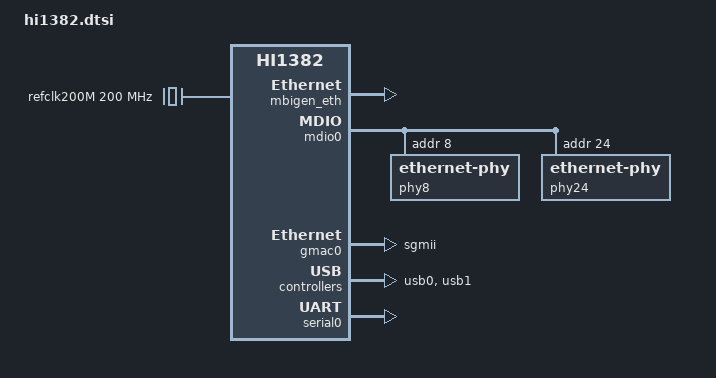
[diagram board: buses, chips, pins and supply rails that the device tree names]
/**
 * dts file for Hisilicon PhosphorHi1382 Soc
 *
 * Copyright (C) 2015,2016 Hisilicon Ltd.
 *
 * This program is free software; you can redistribute it and/or modify
 * it under the terms of the GNU General Public License version 2 as
 * publishhed by the Free Software Foundation.
 *
 */

/ {
	compatible = "hisilicon,hi1382-evb", "hisilicon,hi1382-umpte", "hisilicon,hi1382-ubppe", "hisilicon,hi1382";
	#address-cells = <2>;
	#size-cells = <2>;
	interrupt-parent = <&gic>;

        psci {
                compatible = "arm,psci-0.2";
                method = "smc";
        };

	cpus {
		#address-cells = <1>;
		#size-cells = <0>;

		cpu@0 {
			device_type = "cpu";
			compatible = "arm,armv8";
			reg = <0x20000>;
			enable-method = "psci";
		};

		cpu@1 {
			device_type = "cpu";
			compatible = "arm,armv8";
			reg = <0x20001>;
			enable-method = "psci";
		};

		cpu@2 {
			device_type = "cpu";
			compatible = "arm,armv8";
			reg = <0x20002>;
			enable-method = "psci";
		};

		cpu@3 {
			device_type = "cpu";
			compatible = "arm,armv8";
			reg = <0x20003>;
			enable-method = "psci";
		};

		cpu@4 {
			device_type = "cpu";
			compatible = "arm,armv8";
			reg = <0x20100>;
			enable-method = "psci";
		};

		cpu@5 {
			device_type = "cpu";
			compatible = "arm,armv8";
			reg = <0x20101>;
			enable-method = "psci";
		};

		cpu@6 {
			device_type = "cpu";
			compatible = "arm,armv8";
			reg = <0x20102>;
			enable-method = "psci";
		};

		cpu@7 {
			device_type = "cpu";
			compatible = "arm,armv8";
			reg = <0x20103>;
			enable-method = "psci";
		};

		cpu@8 {
			device_type = "cpu";
			compatible = "arm,armv8";
			reg = <0x20200>;
			enable-method = "psci";
		};

		cpu@9 {
			device_type = "cpu";
			compatible = "arm,armv8";
			reg = <0x20201>;
			enable-method = "psci";
		};

		cpu@10 {
			device_type = "cpu";
			compatible = "arm,armv8";
			reg = <0x20202>;
			enable-method = "psci";
		};

		cpu@11 {
			device_type = "cpu";
			compatible = "arm,armv8";
			reg = <0x20203>;
			enable-method = "psci";
		};

		cpu@12 {
			device_type = "cpu";
			compatible = "arm,armv8";
			reg = <0x20300>;
			enable-method = "psci";
		};

		cpu@13 {
			device_type = "cpu";
			compatible = "arm,armv8";
			reg = <0x20301>;
			enable-method = "psci";
		};

		cpu@14 {
			device_type = "cpu";
			compatible = "arm,armv8";
			reg = <0x20302>;
			enable-method = "psci";
		};

		cpu@15 {
			device_type = "cpu";
			compatible = "arm,armv8";
			reg = <0x20303>;
			enable-method = "psci";
		};

	};

	gic: interrupt-controller@f0000000 {
		compatible = "arm,gic-v3";
		#interrupt-cells = <3>;
		#address-cells = <2>;
		#size-cells = <2>;
		ranges;
		interrupt-controller;
		#redistributor-regions = <1>;
		redistributor-stride = <0x0 0x40000>;
		reg = <0x0 0xf0000000 0x0 0x10000>,	/* GICD */
		      <0x0 0xf0100000 0x0 0x400000>,	/* GICR */
		      <0x0 0xfe000000 0x0 0x10000>,	/* GICC */
		      <0x0 0xfe010000 0x0 0x10000>,     /* GICH */
		      <0x0 0xfe020000 0x0 0x10000>;     /* GICV */
		interrupts = <1 9 0xff04>;

		its: interrupt-controller@f4900000 {
			compatible = "arm,gic-v3-its";
			msi-controller;
			reg = <0x0 0xf4900000 0x0 0x1000000>;
		};
	};

	timer {
		compatible = "arm,armv8-timer";
		interrupts = <1 13 0xff08>,
			     <1 14 0xff08>,
			     <1 11 0xff08>,
			     <1 10 0xff08>;
	};

	pmu {
		compatible = "arm,armv8-pmuv3";
		interrupts = <1 7 4>;
	};

	edaccache {
		compatible = "hisi,hip05-edac-cache";
		poll-delay-ms = <1000>;
	};

	smmu_eth: smmu_eth@fb040000{
		compatible = "arm,smmu-v3";
		reg = <0x0 0xfb040000 0x0 0x20000>;
		interrupt-parent = <&mbigen_eth>;
		interrupts = <0x10823 3 24 6>,
			     <0x10823 3 25 6>,
			     <0x10823 3 26 6>;
		interrupt-names = "eventq", "gerror", "priq";
		#iommu-cells = <1>;
		dma-coherent;
		smmu-cb-memtype = <0xffff 0x1>;
	};

	soc {
		compatible = "simple-bus";
		#address-cells = <1>;
		#size-cells = <1>;
		ranges = <0x0 0x00000000 0x0 0xffffffff>;

		mbigen_peri: interrupt-controller@f1080000 {
			compatible = "hisilicon,mbigen-v2";
			msi-parent = <&its>;
			interrupt-controller;
			#interrupt-cells = <4>;
			reg = <0xf1080000 0x10000>;
		};

		mbigen_eth: interrupt-controller@fb080000 {
			compatible = "hisilicon,mbigen-v2";
			msi-parent = <&its>;
			interrupt-controller;
			#interrupt-cells = <4>;
			reg = <0xfb080000 0x10000>;
		};

		mbigen_ai: interrupt-controller@fc080000 {
			compatible = "hisilicon,mbigen-v2";
			msi-parent = <&its>;
			interrupt-controller;
			#interrupt-cells = <4>;
			reg = <0xfc080000 0x10000>;
		};

		peri_c_subctrl: sub_ctrl_c@41000000 {
			compatible = "hisilicon,peri-c-subctrl", "syscon";
			reg = <0xf1000000 0x10000>;
		};

		mdio0: mdio@f13c0000 {
			compatible = "hisilicon,hi1382-mdio";
			reg = <0xf13c0000 0x1000>;
			subctrl_vbase = <&peri_c_subctrl>;
			#address-cells = <0x1>;
			#size-cells = <0x0>;

			/* on HI1382 Umpte */
			phy8: ethernet-phy@8 {
				reg = <8>;
				max-speed = <100>;
			};

			/* on HI1382 EVB */
			phy24: ethernet-phy@24 {
				reg = <24>;
				max-speed = <100>;
			};
		};

		gmac0: gmac@fb800000 {
			compatible = "hisilicon,hi1382-gmac";
			#address-cells = <1>;
			#size-cells = <0>;
			phy-mode = "sgmii";
			interrupt-parent = <&mbigen_eth>;
			interrupts = <0x10800 33 0 5 >,
				   <0x10800 33 1 5 >,
				   <0x10800 33 2 5 >,
				   <0x10800 33 3 5 >,
				   <0x10800 33 4 5 >,
				   <0x10800 33 5 5 >,
				   <0x10800 33 6 5 >,
				   <0x10800 33 7 5 >,
				   <0x10800 33 8 5 >,
				   <0x10800 33 9 5 >,
				   <0x10800 33 10 5 >,
				   <0x10800 33 11 5 >,
				   <0x10800 33 12 5 >,
				   <0x10800 33 13 5 >,
				   <0x10800 33 14 5 >,
				   <0x10800 33 15 5 >,
				   <0x10800 33 16 5 >,
				   <0x10800 33 17 5 >,
				   <0x10800 33 18 5 >,
				   <0x10800 33 19 5 >,
				   <0x10800 33 20 5 >,
				   <0x10800 33 21 5 >,
				   <0x10800 33 22 5 >,
				   <0x10800 33 23 5 >,
				   <0x10800 33 24 5 >,
				   <0x10800 33 25 5 >,
				   <0x10800 33 26 5 >,
				   <0x10800 33 27 5 >,
				   <0x10800 33 28 5 >,
				   <0x10800 33 29 5 >,
				   <0x10800 33 30 5 >,
				   <0x10800 33 31 5 >,
				   <0x10800 33 32 5 >;
			dma-coherent;
		};

		pc_sysctrl: system-controller@f1010000 {
			compatible = "hisilicon,hisi-sysctrl", "syscon";
			reg = <0xf1010000 0x10000>;
			linux,phandle = <0x5>;
			phandle = <0x5>;
		};

		djtag0: djtag@0 {
			compatible = "hisilicon,hi1382-djtag";
			syscon = <&pc_sysctrl>;
		};

		llc0: llc@0{
			compatible = "hisilicon,hi1382-llc";
			djtag = <&djtag0 2>;
		};

		usb0: ehci@fcd10000 {
			/* on 1382 we should do extra work: dreq and smmu bypass */
			compatible = "hi1382,generic-ehci";
			#address-cells = <1>;
			#size-cells = <0>;
			reg = <0xfcd10000 0x10000>;
			interrupt-parent = <&mbigen_ai>;
			interrupts = <0x10420 1 19 5>;
			dma-coherent;
		};

		usb1: ohci@fcd20000 {
			/* on 1382 we should do extra work: dreq and smmu bypass */
			compatible = "hi1382,generic-ohci";
			#address-cells = <1>;
			#size-cells = <0>;
			reg = <0xfcd20000 0x1000>;
			interrupt-parent = <&mbigen_ai>;
			interrupts = <0x10421 1 20 5>;
			dma-coherent;
		};

		refclk200M: refclk200M {
			compatible = "fixed-clock";
			#clock-cells = <0>;
			clock-frequency = <200000000>;
			clock-output-names = "refclk";
		};

		serial0: uart@f1300000 {
			compatible = "snps,dw-apb-uart";
			#address-cells = <1>;
			#size-cells = <0>;
			reg = <0xf1300000 0x10000>;
			interrupt-parent = <&mbigen_peri>;
			interrupts = <0x120c4 1 100 6>;
			clocks = <&refclk200M>;
			clock-names = "apb_pclk";
			reg-shift = <2>;
		};
	};

};
